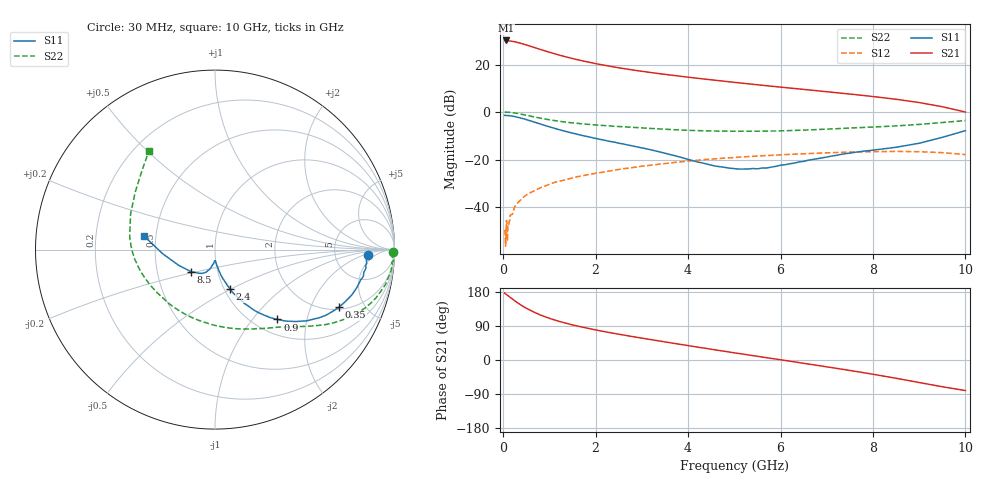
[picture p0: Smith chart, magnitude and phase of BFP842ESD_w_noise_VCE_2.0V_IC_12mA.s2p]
! Infineon Technologies  Discrete & RF Semiconductors
! BFP842ESD
! VCE =  2.0 V,  IC =  12 mA
! Common Emitter S-Parameters:  May 2012
# GHz  S  MA  R  50
!  f  S11  S21  S12  S22
! GHz  MAG  ANG  MAG  ANG  MAG  ANG  MAG  ANG
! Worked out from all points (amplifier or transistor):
!   99 points, 30 MHz to 10 GHz, reference 50 ohm
!   highest |S21| = 30.1 dB at 60 MHz (marker M1)
!   |S21| within 3 dB of that: start of sweep to 678.4 MHz
!   unconditionally stable (mu >= 1): 2.662 GHz to end of sweep
!   at 350 MHz: K = 0.33, MSG = 33.3 dB, |S12| = -37.5 dB
!   at 3.5 GHz: K = 1.06, MAG = 17.3 dB, |S12| = -21.7 dB
!   at 10 GHz: K = 1.87, MAG = 3.6 dB, |S12| = -17.9 dB
!   lowest NFmin = 0.63 dB at 450 MHz
!   S11 on the Smith chart (normalised r, x): 30 MHz: 12, -3; 350 MHz: 2.11, -3.22; 900 MHz: 1.26, -1.35; 2.4 GHz: 1.06, -0.49; 8.5 GHz: 0.74, -0.19; 10 GHz: 0.43, +0.08
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0.03  0.8504 -2.0  31.98 176.7  0.0031 94.4  0.9914 -0.9
0.05  0.8458 -3.8  31.67 174.4  0.0015 -172.9  0.9885 -2.7
0.06  0.8461 -4.3  32.11 173.5  0.0022 113.4  0.9959 -3.2
0.07  0.8489 -5.1  31.75 172.8  0.0052 126.9  0.996 -3.6
0.09  0.8481 -6.7  31.37 171.1  0.0019 77.1  0.9912 -4.8
0.11  0.8391 -8.6  31.78 168.9  0.004 80.9  0.9883 -6.0
0.15  0.8296 -11.6  31.32 165.2  0.0067 74.0  0.9806 -8.5
0.25  0.8027 -18.4  30.16 156.2  0.0102 84.7  0.9521 -14.2
0.35  0.7613 -25.0  28.53 147.8  0.0133 74.0  0.9165 -19.1
0.5  0.6924 -33.3  25.88 136.6  0.0179 71.6  0.8558 -25.2
0.6  0.6463 -37.9  24.03 130.2  0.0204 68.0  0.8149 -28.6
0.8  0.5603 -45.3  20.82 119.0  0.0253 64.5  0.7453 -34.1
0.9  0.5219 -48.2  19.41 114.4  0.0276 63.5  0.7135 -36.3
1.2  0.4278 -55.3  15.92 102.3  0.0347 59.6  0.6416 -41.9
1.4  0.3802 -58.5  14.16 95.7  0.0389 57.4  0.6056 -45.1
1.7  0.3219 -62.5  12.05 87.1  0.0449 54.7  0.5645 -49.8
2.4  0.2332 -69.4  8.861 70.2  0.0598 48.1  0.5013 -61.3
3.4  0.1436 -77.3  6.386 49.8  0.0809 36.5  0.4396 -81.3
5.1  0.0629 -89.4  4.117 17.2  0.1123 14.7  0.3936 -123.3
6.7  0.1004 -102.0  2.864 -12.4  0.1346 -7.3  0.4238 -159.4
8.5  0.1813 -137.4  1.856 -48.2  0.1481 -37.7  0.5105 157.1
10  0.4051 168.9  1 -80.6  0.1271 -68.7  0.6625 123.7
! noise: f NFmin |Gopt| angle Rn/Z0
0.45  0.63  0.11  0  0.11
0.9  0.64  0.11  2  0.1
1.5  0.65  0.11  6  0.09
1.9  0.66  0.1  15  0.08
2.4  0.67  0.08  19  0.08
3.5  0.74  0.03  146  0.08
4  0.78  0.05  -160  0.07
5  0.85  0.08  -132  0.07
5.5  0.95  0.1  -127  0.08
6  1.05  0.11  -121  0.1
